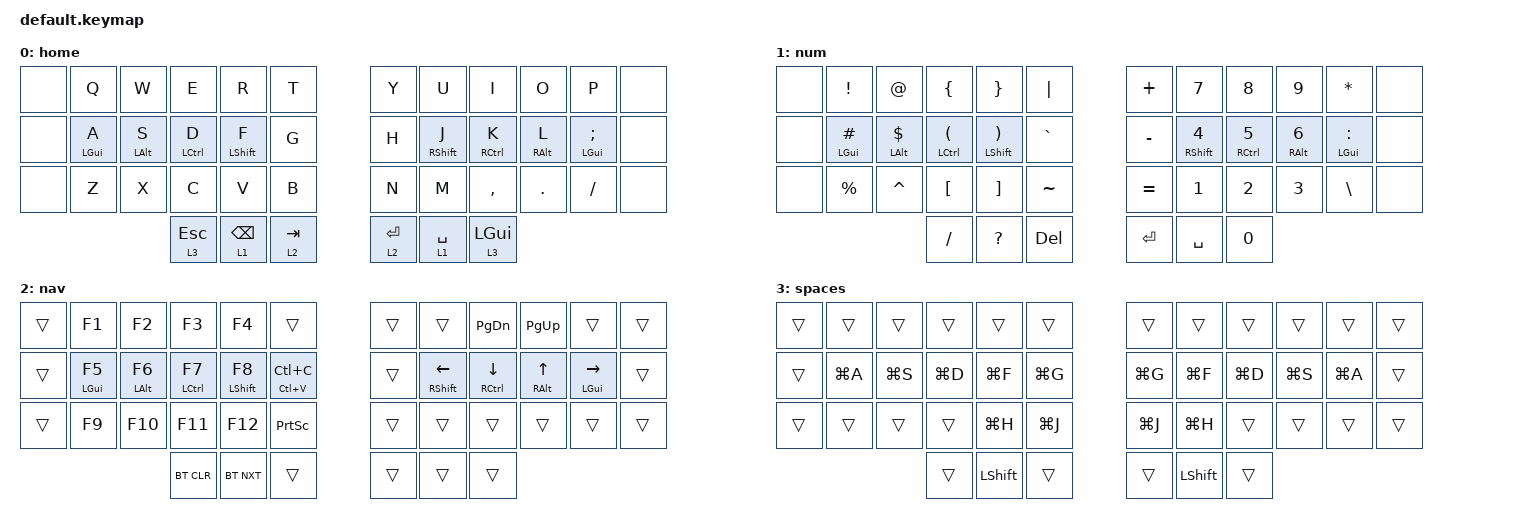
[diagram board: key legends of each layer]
/*
 * Copyright (c) 2020 The ZMK Contributors
 *
 * SPDX-License-Identifier: MIT
 */

#include <behaviors.dtsi>
#include <dt-bindings/zmk/bt.h>
#include <dt-bindings/zmk/keys.h>

/ {
    behaviors {
        hm: homerow_mods {
            compatible = "zmk,behavior-hold-tap";
            label = "HOMEROW_MODS";
            bindings = <&kp>, <&kp>;

            #binding-cells = <2>;
            tapping-term-ms = <185>;
            flavor = "tap-preferred";
            quick-tap-ms = <185>;
        };
    };

    combos {
        compatible = "zmk,combos";

        caps {
            bindings = <&kp CAPS>;
            key-positions = <16 19>;
        };

        under {
            bindings = <&kp UNDER>;
            key-positions = <28 31>;
        };

        dash {
            bindings = <&kp MINUS>;
            key-positions = <4 7>;
        };
    };

    keymap {
        compatible = "zmk,keymap";

        home {
            // -----------------------------------------------------------------------------------------
            // |  TAB |  Q  |  W  |  E  |  R  |  T  |   |  Y  |  U   |  I  |  O  |  P  | BKSP |
            // | CTRL |  A  |  S  |  D  |  F  |  G  |   |  H  |  J   |  K  |  L  |  ;  |  '   |
            // | SHFT |  Z  |  X  |  C  |  V  |  B  |   |  N  |  M   |  ,  |  .  |  /  | ESC  |
            //                    | GUI | LWR | SPC |   | ENT | RSE  | ALT |

            bindings = <
&none  &kp Q            &kp W                &kp E                    &kp R                  &kp T        &kp Y        &kp U              &kp I             &kp O                 &kp P                    &none
&none  &hm LGUI A  &hm LALT S  &hm LCTRL D  &hm LSHIFT F  &kp G        &kp H        &hm RSHIFT J  &hm RCTRL K  &hm RALT L  &hm LGUI SEMICOLON  &none
&none  &kp Z            &kp X                &kp C                    &kp V                  &kp B        &kp N        &kp M              &kp COMMA         &kp PERIOD            &kp SLASH                &none
                                             &lt 3 ESCAPE             &lt 1 BACKSPACE        &lt 2 TAB    &lt 2 ENTER  &lt 1 SPACE        &lt 3 LGUI
            >;

            label = "home";
        };

        num {
            // -----------------------------------------------------------------------------------------
            // |  TAB |  !  |  @  |  #  |  $  |  %  |   |  ^  |  &  |  *  |  (  |  )  | BKSP |
            // | CTRL |     |     |     |     |     |   |  -  |  =  |  [  |  ]  |  \  |  `   |
            // | SHFT |     |     |     |     |     |   |  _  |  +  |  {  |  }  | "|" |  ~   |
            //                    | GUI |     | SPC |   | ENT |     | ALT |

            bindings = <
&none  &kp EXCL            &kp AT               &kp LEFT_BRACE              &kp RIGHT_BRACE                   &kp PIPE     &kp PLUS   &kp NUMBER_7  &kp N8        &kp N9                    &kp ASTERISK   &none
&none  &hm LGUI HASH  &hm LALT DOLLAR  &hm LCTRL LEFT_PARENTHESIS  &hm LSHIFT RIGHT_PARENTHESIS  &kp GRAVE    &kp MINUS  &hm RSHIFT NUMBER_4  &hm RCTRL NUMBER_5  &hm RALT NUMBER_6  &hm LGUI COLON  &none
&none  &kp PERCENT         &kp CARET            &kp LEFT_BRACKET            &kp RIGHT_BRACKET                 &kp TILDE    &kp EQUAL  &kp NUMBER_1  &kp NUMBER_2  &kp NUMBER_3  &kp BACKSLASH  &none
                                                &kp SLASH                   &kp QUESTION                      &kp DEL      &kp RET    &kp SPACE     &kp N0
            >;

            label = "num";
        };

        nav {
            bindings = <
&trans  &kp F1            &kp F2           &kp F3        &kp F4             &trans             &trans  &trans           &kp PG_DN       &kp PG_UP         &trans          &trans
&trans  &hm LGUI F5  &hm LALT F6  &hm LCTRL F7  &hm LSHIFT F8  &hm LC(V) LC(C)    &trans  &hm RSHIFT LEFT  &hm RCTRL DOWN  &hm RALT UP  &hm LGUI RIGHT  &trans
&trans  &kp F9            &kp F10          &kp F11       &kp F12            &kp PSCRN          &trans  &trans           &trans          &trans            &trans          &trans
                                           &bt BT_CLR    &bt BT_NXT         &trans             &trans  &trans     &trans
            >;

            label = "nav";
        };

        spaces {
            bindings = <
&trans  &trans     &trans     &trans     &trans          &trans       &trans     &trans     &trans     &trans     &trans     &trans
&trans  &kp LG(A)  &kp LG(S)  &kp LG(D)  &kp LG(F)       &kp LG(G)    &kp LG(G)  &kp LG(F)  &kp LG(D)  &kp LG(S)  &kp LG(A)  &trans
&trans  &trans     &trans     &trans     &kp LG(H)       &kp LG(J)    &kp LG(J)  &kp LG(H)  &trans     &trans     &trans     &trans
                              &trans     &kp LSHIFT      &trans       &trans     &kp LSHIFT &trans
            >;
        };
    };
};
